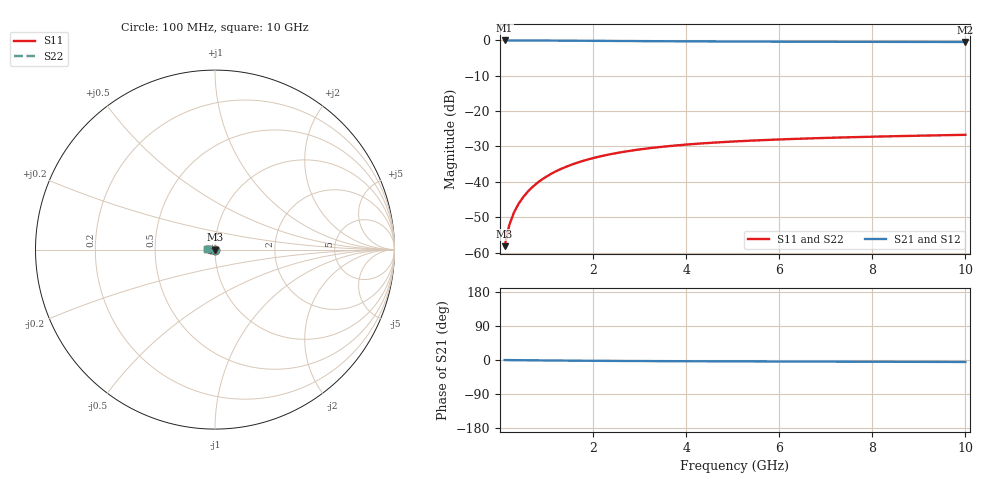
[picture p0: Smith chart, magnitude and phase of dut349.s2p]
! Touchstone file exported from HFSS 2024.1.0
!  File:  C:/UserFiles/LocalFiles/RDL_TSV_Batchsim/temp_TSV1_349_1779620046.aedt
!  Generated:  06:59:14 PM May 24, 2026
!  Design:  TSV1
!  Project:  temp_TSV1_349_1779620046
!  Setup:  Setup1
!  Solution:  Sweep
! Variables:
!  dtsv = 10um
!  hbump = 3um
!  htsv = 81.09um
!  lrdl = 252.1521522um
!  p = 40
!  p1 = 49.83um
!  t = 500um
!  trdl = 3um
!  wrdl = 24.89489489um
# GHz S MA R 50.000000
! Terminal data exported
! Port[1] = TSV22_T1
! Port[2] = TSV22_T2
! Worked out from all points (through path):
!   100 points, 100 MHz to 10 GHz, reference 50 ohm
!   highest |S21| = 0.00 dB at 100 MHz (marker M1); lowest = -0.4 dB at 10 GHz (marker M2)
!   lowest |S11| = -58.2 dB at 100 MHz (marker M3), VSWR 1.00, Z = 50 - j0.123 ohm
!   |S11| at or under -10 dB: start of sweep to end of sweep
!   |S22| runs from -58.2 to -26.7 dB; largest |S21 - S12| = 6.2e-15
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0.1  0.00123 -85.0  0.9998 -0.1  0.9998 -0.1  0.00123 -85.0
! Gamma 0 0 0 0
! Port Impedance 50 0 50 0
0.2  0.002448 -90.0  0.9997 -0.3  0.9997 -0.3  0.002448 -90.0
0.3  0.003668 -92.9  0.9995 -0.4  0.9995 -0.4  0.003668 -92.9
0.4  0.004884 -95.2  0.9992 -0.5  0.9992 -0.5  0.004884 -95.2
0.5  0.006092 -97.3  0.9988 -0.6  0.9988 -0.6  0.006092 -97.3
0.6  0.007287 -99.3  0.9984 -0.7  0.9984 -0.7  0.007287 -99.3
0.7  0.008467 -101.3  0.9979 -0.9  0.9979 -0.9  0.008467 -101.3
0.8  0.009629 -103.2  0.9974 -1.0  0.9974 -1.0  0.009629 -103.2
0.9  0.01077 -105.0  0.9968 -1.1  0.9968 -1.1  0.01077 -105.0
1.1  0.01299 -108.6  0.9954 -1.3  0.9954 -1.3  0.01299 -108.6
1.4  0.01613 -113.6  0.9931 -1.6  0.9931 -1.6  0.01613 -113.6
1.6  0.01808 -116.8  0.9914 -1.8  0.9914 -1.8  0.01808 -116.8
1.8  0.01992 -119.9  0.9897 -1.9  0.9897 -1.9  0.01992 -119.9
2.1  0.02247 -124.3  0.987 -2.2  0.987 -2.2  0.02248 -124.3
2.5  0.02549 -129.7  0.9834 -2.5  0.9834 -2.5  0.02549 -129.7
2.9  0.02811 -134.7  0.9799 -2.7  0.9799 -2.7  0.02811 -134.7
3.4  0.03089 -140.3  0.9759 -3.0  0.9759 -3.0  0.03089 -140.3
4.2  0.03442 -148.1  0.9704 -3.3  0.9704 -3.3  0.03442 -148.1
5.1  0.03743 -155.5  0.9654 -3.6  0.9654 -3.6  0.03743 -155.5
6.7  0.04123 -166.1  0.9591 -4.1  0.9591 -4.1  0.04123 -166.1
8.4  0.04409 -175.1  0.9547 -4.7  0.9547 -4.7  0.04409 -175.1
10  0.04625 177.8  0.9518 -5.2  0.9518 -5.2  0.04625 177.8
